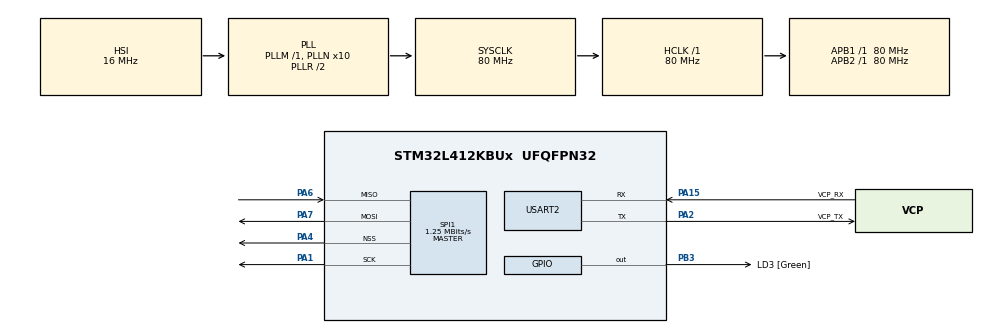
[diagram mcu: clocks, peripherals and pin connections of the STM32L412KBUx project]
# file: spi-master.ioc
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Mcu.Family=STM32L4
Mcu.Name=STM32L412KBUx
Mcu.Package=UFQFPN32
NVIC.PriorityGroup=NVIC_PRIORITYGROUP_4
PA0-CK_IN.Mode=HSE-External-Clock-Source-for-LittleOrca
PA0-CK_IN.Signal=RCC_CK_IN
PA1.Mode=Full_Duplex_Master
PA1.Signal=SPI1_SCK
PA13\ (JTMS/SWDIO).GPIO_Label=SWDIO
PA13\ (JTMS/SWDIO).Mode=Serial_Wire
PA13\ (JTMS/SWDIO).Signal=SYS_JTMS-SWDIO
PA14\ (JTCK/SWCLK).GPIO_Label=SWCLK
PA14\ (JTCK/SWCLK).Mode=Serial_Wire
PA14\ (JTCK/SWCLK).Signal=SYS_JTCK-SWCLK
PA15\ (JTDI).GPIO_Label=VCP_RX
PA15\ (JTDI).Mode=Asynchronous
PA15\ (JTDI).Signal=USART2_RX
PA2.GPIO_Label=VCP_TX
PA2.Mode=Asynchronous
PA2.Signal=USART2_TX
PA4.Mode=NSS_Signal_Hard_Output
PA4.Signal=SPI1_NSS
PA6.Mode=Full_Duplex_Master
PA6.Signal=SPI1_MISO
PA7.Mode=Full_Duplex_Master
PA7.Signal=SPI1_MOSI
PB3\ (JTDO/TRACESWO).GPIO_Label=LD3 [Green]
PB3\ (JTDO/TRACESWO).Signal=GPIO_Output
PC14-OSC32_IN\ (PC14).Mode=LSE-External-Oscillator
PC14-OSC32_IN\ (PC14).Signal=RCC_OSC32_IN
PC15-OSC32_OUT\ (PC15).Mode=LSE-External-Oscillator
PC15-OSC32_OUT\ (PC15).Signal=RCC_OSC32_OUT
ProjectManager.HeapSize=0x200
ProjectManager.StackSize=0x400
ProjectManager.TargetToolchain=STM32CubeIDE
RCC.ADCFreq_Value=80000000
RCC.AHBFreq_Value=80000000
RCC.APB1Freq_Value=80000000
RCC.APB1TimFreq_Value=80000000
RCC.APB2Freq_Value=80000000
RCC.APB2TimFreq_Value=80000000
RCC.CortexFreq_Value=80000000
RCC.HCLKFreq_Value=80000000
RCC.HSE_VALUE=8000000
RCC.HSI48_VALUE=48000000
RCC.HSI_VALUE=16000000
RCC.MSIClockRange=RCC_MSIRANGE_10
RCC.MSI_VALUE=32000000
RCC.PLLN=10
RCC.PLLSourceVirtual=RCC_PLLSOURCE_HSI
RCC.SYSCLKFreq_VALUE=80000000
RCC.SYSCLKSource=RCC_SYSCLKSOURCE_PLLCLK
RCC.USBFreq_Value=32000000
RCC.VCOOutputFreq_Value=160000000
SPI1.BaudRatePrescaler=SPI_BAUDRATEPRESCALER_64
SPI1.CalculateBaudRate=1.25 MBits/s
SPI1.DataSize=SPI_DATASIZE_8BIT
SPI1.Direction=SPI_DIRECTION_2LINES
SPI1.Mode=SPI_MODE_MASTER
SPI1.VirtualNSS=VM_NSSHARD
SPI1.VirtualType=VM_MASTER
USART2.VirtualMode-Asynchronous=VM_ASYNC
board=NUCLEO-L412KB

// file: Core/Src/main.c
/* USER CODE BEGIN Header */
/**
  ******************************************************************************
  * @file           : main.c
  * @brief          : Main program body
  ******************************************************************************
  * @attention
  *
  * <h2><center>&copy; Copyright (c) 2021 STMicroelectronics.
  * All rights reserved.</center></h2>
  *
  * This software component is licensed by ST under BSD 3-Clause license,
  * the "License"; You may not use this file except in compliance with the
  * License. You may obtain a copy of the License at:
  *                        opensource.org/licenses/BSD-3-Clause
  *
  ******************************************************************************
  */
/* USER CODE END Header */
#include "main.h"

/* USER CODE BEGIN Includes */
#include <string.h>
/* USER CODE END Includes */

SPI_HandleTypeDef hspi1;

UART_HandleTypeDef huart2;

void SystemClock_Config(void);
static void MX_GPIO_Init(void);
static void MX_USART2_UART_Init(void);
static void MX_SPI1_Init(void);

/* USER CODE BEGIN 0 */
#define arr_sz 10

enum spi_rw {
	SPI_READ = 0,
	SPI_WRITE = 1,
};
struct spi_header {
	uint8_t address:7;
	uint8_t rw:1; /* 1 for write 0 for read */
} __attribute__((__packed__));

uint16_t Timeout = 0xffff;
uint32_t Delay = 1;

static int spi_write(uint8_t addr, uint8_t val)
{
	struct spi_header spi_header;
	HAL_StatusTypeDef status;

	spi_header.rw = SPI_WRITE;
	spi_header.address = addr;
	HAL_Delay(Delay);
	status = HAL_SPI_Transmit(&hspi1, (uint8_t*)&spi_header, 1, Timeout);

//	if(HAL_OK != status) return -1;
	/* Write the value into the register */
	HAL_Delay(Delay);
	status = HAL_SPI_Transmit(&hspi1, &val, 1, Timeout);

	return status;
}

static int spi_read(uint8_t addr, uint8_t *val)
{
	struct spi_header spi_header;
	HAL_StatusTypeDef status;

	spi_header.rw = SPI_READ;
	spi_header.address = addr;

	HAL_Delay(Delay);
	status = HAL_SPI_Transmit(&hspi1, (uint8_t*)&spi_header, 1, Timeout);
//	if(HAL_OK != status) return -1;

	/* Write the value into the register */
	HAL_Delay(Delay);
	status = HAL_SPI_Receive(&hspi1, val, 1, Timeout);

	return status;
}
/* USER CODE END 0 */

int main(void)
{

  /* MCU Configuration--------------------------------------------------------*/

  /* Reset of all peripherals, Initializes the Flash interface and the Systick. */
  HAL_Init();

  /* Configure the system clock */
  SystemClock_Config();

  /* Initialize all configured peripherals */
  MX_GPIO_Init();
  MX_USART2_UART_Init();
  MX_SPI1_Init();

  /* Infinite loop */
  /* USER CODE BEGIN WHILE */
  uint8_t read_val[arr_sz] = {0,};

  while (1)
  {
	  /* Reset read buf */
	  memset(read_val, 0, arr_sz);

	  /* Write to the registers*/
	  for(int i = 0; i < arr_sz ; ++i) {
		  spi_write(i, i+1);
	  }
	  /* Read the registers */
	  for(int i = 0; i < arr_sz; ++i){
		  spi_read(i, &read_val[i]);
	  }

    /* USER CODE END WHILE */

  }
}

void SystemClock_Config(void)
{
  RCC_OscInitTypeDef RCC_OscInitStruct = {0};
  RCC_ClkInitTypeDef RCC_ClkInitStruct = {0};
  RCC_PeriphCLKInitTypeDef PeriphClkInit = {0};

  /** Configure the main internal regulator output voltage
  */
  if (HAL_PWREx_ControlVoltageScaling(PWR_REGULATOR_VOLTAGE_SCALE1) != HAL_OK)
  {
    Error_Handler();
  }
  /** Initializes the RCC Oscillators according to the specified parameters
  * in the RCC_OscInitTypeDef structure.
  */
  RCC_OscInitStruct.OscillatorType = RCC_OSCILLATORTYPE_HSI;
  RCC_OscInitStruct.HSIState = RCC_HSI_ON;
  RCC_OscInitStruct.HSICalibrationValue = RCC_HSICALIBRATION_DEFAULT;
  RCC_OscInitStruct.PLL.PLLState = RCC_PLL_ON;
  RCC_OscInitStruct.PLL.PLLSource = RCC_PLLSOURCE_HSI;
  RCC_OscInitStruct.PLL.PLLM = 1;
  RCC_OscInitStruct.PLL.PLLN = 10;
  RCC_OscInitStruct.PLL.PLLQ = RCC_PLLQ_DIV2;
  RCC_OscInitStruct.PLL.PLLR = RCC_PLLR_DIV2;
  if (HAL_RCC_OscConfig(&RCC_OscInitStruct) != HAL_OK)
  {
    Error_Handler();
  }
  /** Initializes the CPU, AHB and APB buses clocks
  */
  RCC_ClkInitStruct.ClockType = RCC_CLOCKTYPE_HCLK|RCC_CLOCKTYPE_SYSCLK
                              |RCC_CLOCKTYPE_PCLK1|RCC_CLOCKTYPE_PCLK2;
  RCC_ClkInitStruct.SYSCLKSource = RCC_SYSCLKSOURCE_PLLCLK;
  RCC_ClkInitStruct.AHBCLKDivider = RCC_SYSCLK_DIV1;
  RCC_ClkInitStruct.APB1CLKDivider = RCC_HCLK_DIV1;
  RCC_ClkInitStruct.APB2CLKDivider = RCC_HCLK_DIV1;

  if (HAL_RCC_ClockConfig(&RCC_ClkInitStruct, FLASH_LATENCY_4) != HAL_OK)
  {
    Error_Handler();
  }
  PeriphClkInit.PeriphClockSelection = RCC_PERIPHCLK_USART2;
  PeriphClkInit.Usart2ClockSelection = RCC_USART2CLKSOURCE_PCLK1;
  if (HAL_RCCEx_PeriphCLKConfig(&PeriphClkInit) != HAL_OK)
  {
    Error_Handler();
  }
}

static void MX_SPI1_Init(void)
{

  /* SPI1 parameter configuration*/
  hspi1.Instance = SPI1;
  hspi1.Init.Mode = SPI_MODE_MASTER;
  hspi1.Init.Direction = SPI_DIRECTION_2LINES;
  hspi1.Init.DataSize = SPI_DATASIZE_8BIT;
  hspi1.Init.CLKPolarity = SPI_POLARITY_LOW;
  hspi1.Init.CLKPhase = SPI_PHASE_1EDGE;
  hspi1.Init.NSS = SPI_NSS_HARD_OUTPUT;
  hspi1.Init.BaudRatePrescaler = SPI_BAUDRATEPRESCALER_64;
  hspi1.Init.FirstBit = SPI_FIRSTBIT_MSB;
  hspi1.Init.TIMode = SPI_TIMODE_DISABLE;
  hspi1.Init.CRCCalculation = SPI_CRCCALCULATION_DISABLE;
  hspi1.Init.CRCPolynomial = 7;
  hspi1.Init.CRCLength = SPI_CRC_LENGTH_DATASIZE;
  hspi1.Init.NSSPMode = SPI_NSS_PULSE_ENABLE;
  if (HAL_SPI_Init(&hspi1) != HAL_OK)
  {
    Error_Handler();
  }

}

static void MX_USART2_UART_Init(void)
{

  huart2.Instance = USART2;
  huart2.Init.BaudRate = 115200;
  huart2.Init.WordLength = UART_WORDLENGTH_8B;
  huart2.Init.StopBits = UART_STOPBITS_1;
  huart2.Init.Parity = UART_PARITY_NONE;
  huart2.Init.Mode = UART_MODE_TX_RX;
  huart2.Init.HwFlowCtl = UART_HWCONTROL_NONE;
  huart2.Init.OverSampling = UART_OVERSAMPLING_16;
  huart2.Init.OneBitSampling = UART_ONE_BIT_SAMPLE_DISABLE;
  huart2.AdvancedInit.AdvFeatureInit = UART_ADVFEATURE_NO_INIT;
  if (HAL_UART_Init(&huart2) != HAL_OK)
  {
    Error_Handler();
  }

}

static void MX_GPIO_Init(void)
{
  GPIO_InitTypeDef GPIO_InitStruct = {0};

  /* GPIO Ports Clock Enable */
  __HAL_RCC_GPIOC_CLK_ENABLE();
  __HAL_RCC_GPIOA_CLK_ENABLE();
  __HAL_RCC_GPIOB_CLK_ENABLE();

  /*Configure GPIO pin Output Level */
  HAL_GPIO_WritePin(LD3_GPIO_Port, LD3_Pin, GPIO_PIN_RESET);

  /*Configure GPIO pin : LD3_Pin */
  GPIO_InitStruct.Pin = LD3_Pin;
  GPIO_InitStruct.Mode = GPIO_MODE_OUTPUT_PP;
  GPIO_InitStruct.Pull = GPIO_NOPULL;
  GPIO_InitStruct.Speed = GPIO_SPEED_FREQ_LOW;
  HAL_GPIO_Init(LD3_GPIO_Port, &GPIO_InitStruct);

}

/* USER CODE BEGIN 4 */
void HAL_GPIO_EXTI_Callback(uint16_t GPIO_Pin)
{
	int i = 3;
}

/* USER CODE END 4 */

void Error_Handler(void)
{
  __disable_irq();
  while (1)
  {
  }
}

/************************ (C) COPYRIGHT STMicroelectronics *****END OF FILE****/
